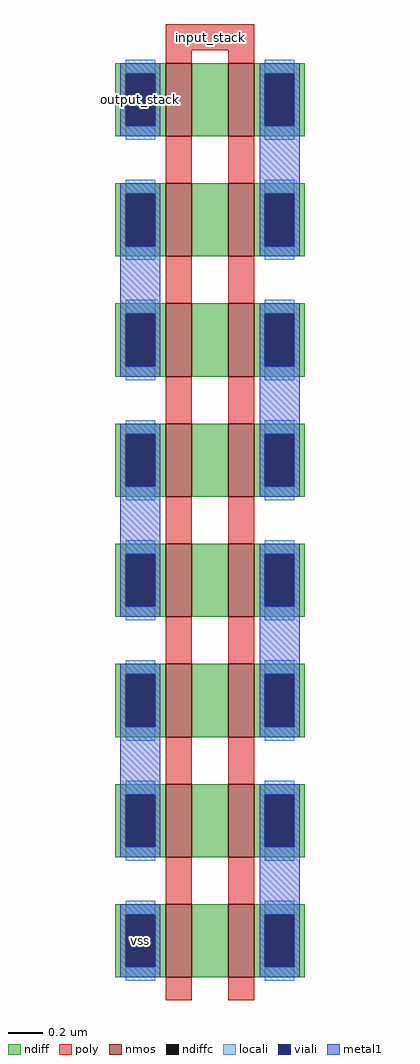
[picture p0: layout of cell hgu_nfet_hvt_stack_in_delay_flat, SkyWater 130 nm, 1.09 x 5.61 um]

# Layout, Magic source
magic
tech sky130A
magscale 1 2
<< nmos >>
rect 143 757 173 841
rect 215 757 245 841
rect 143 619 173 703
rect 215 619 245 703
rect 143 481 173 565
rect 215 481 245 565
rect 143 343 173 427
rect 215 343 245 427
rect 143 205 173 289
rect 215 205 245 289
rect 143 67 173 151
rect 215 67 245 151
rect 143 -71 173 13
rect 215 -71 245 13
rect 143 -209 173 -125
rect 215 -209 245 -125
<< ndiff >>
rect 85 829 143 841
rect 85 769 97 829
rect 131 769 143 829
rect 85 757 143 769
rect 173 757 215 841
rect 245 829 303 841
rect 245 769 257 829
rect 291 769 303 829
rect 245 757 303 769
rect 85 691 143 703
rect 85 631 97 691
rect 131 631 143 691
rect 85 619 143 631
rect 173 619 215 703
rect 245 691 303 703
rect 245 631 257 691
rect 291 631 303 691
rect 245 619 303 631
rect 85 553 143 565
rect 85 493 97 553
rect 131 493 143 553
rect 85 481 143 493
rect 173 481 215 565
rect 245 553 303 565
rect 245 493 257 553
rect 291 493 303 553
rect 245 481 303 493
rect 85 415 143 427
rect 85 355 97 415
rect 131 355 143 415
rect 85 343 143 355
rect 173 343 215 427
rect 245 415 303 427
rect 245 355 257 415
rect 291 355 303 415
rect 245 343 303 355
rect 85 277 143 289
rect 85 217 97 277
rect 131 217 143 277
rect 85 205 143 217
rect 173 205 215 289
rect 245 277 303 289
rect 245 217 257 277
rect 291 217 303 277
rect 245 205 303 217
rect 85 139 143 151
rect 85 79 97 139
rect 131 79 143 139
rect 85 67 143 79
rect 173 67 215 151
rect 245 139 303 151
rect 245 79 257 139
rect 291 79 303 139
rect 245 67 303 79
rect 85 1 143 13
rect 85 -59 97 1
rect 131 -59 143 1
rect 85 -71 143 -59
rect 173 -71 215 13
rect 245 1 303 13
rect 245 -59 257 1
rect 291 -59 303 1
rect 245 -71 303 -59
rect 85 -137 143 -125
rect 85 -197 97 -137
rect 131 -197 143 -137
rect 85 -209 143 -197
rect 173 -209 215 -125
rect 245 -137 303 -125
rect 245 -197 257 -137
rect 291 -197 303 -137
rect 245 -209 303 -197
<< ndiffc >>
rect 97 769 131 829
rect 257 769 291 829
rect 97 631 131 691
rect 257 631 291 691
rect 97 493 131 553
rect 257 493 291 553
rect 97 355 131 415
rect 257 355 291 415
rect 97 217 131 277
rect 257 217 291 277
rect 97 79 131 139
rect 257 79 291 139
rect 97 -59 131 1
rect 257 -59 291 1
rect 97 -197 131 -137
rect 257 -197 291 -137
<< poly >>
rect 143 856 245 886
rect 143 841 173 856
rect 215 841 245 856
rect 143 703 173 757
rect 215 703 245 757
rect 143 565 173 619
rect 215 565 245 619
rect 143 427 173 481
rect 215 427 245 481
rect 143 289 173 343
rect 215 289 245 343
rect 143 151 173 205
rect 215 151 245 205
rect 143 13 173 67
rect 215 13 245 67
rect 143 -125 173 -71
rect 215 -125 245 -71
rect 143 -235 173 -209
rect 215 -235 245 -209
<< locali >>
rect 97 829 131 845
rect 97 753 131 769
rect 257 829 291 845
rect 257 753 291 769
rect 97 691 131 707
rect 97 615 131 631
rect 257 691 291 707
rect 257 615 291 631
rect 97 553 131 569
rect 97 477 131 493
rect 257 553 291 569
rect 257 477 291 493
rect 97 415 131 431
rect 97 339 131 355
rect 257 415 291 431
rect 257 339 291 355
rect 97 277 131 293
rect 97 201 131 217
rect 257 277 291 293
rect 257 201 291 217
rect 97 139 131 155
rect 97 63 131 79
rect 257 139 291 155
rect 257 63 291 79
rect 97 1 131 17
rect 97 -75 131 -59
rect 257 1 291 17
rect 257 -75 291 -59
rect 97 -137 131 -121
rect 97 -213 131 -197
rect 257 -137 291 -121
rect 257 -213 291 -197
<< viali >>
rect 97 769 131 829
rect 257 769 291 829
rect 97 631 131 691
rect 257 631 291 691
rect 97 493 131 553
rect 257 493 291 553
rect 97 355 131 415
rect 257 355 291 415
rect 97 217 131 277
rect 257 217 291 277
rect 97 79 131 139
rect 257 79 291 139
rect 97 -59 131 1
rect 257 -59 291 1
rect 97 -197 131 -137
rect 257 -197 291 -137
<< metal1 >>
rect 91 829 137 841
rect 91 769 97 829
rect 131 769 137 829
rect 91 757 137 769
rect 251 829 297 841
rect 251 769 257 829
rect 291 769 297 829
rect 91 691 137 703
rect 91 631 97 691
rect 131 631 137 691
rect 91 553 137 631
rect 251 691 297 769
rect 251 631 257 691
rect 291 631 297 691
rect 251 619 297 631
rect 91 493 97 553
rect 131 493 137 553
rect 91 481 137 493
rect 251 553 297 565
rect 251 493 257 553
rect 291 493 297 553
rect 91 415 137 427
rect 91 355 97 415
rect 131 355 137 415
rect 91 277 137 355
rect 251 415 297 493
rect 251 355 257 415
rect 291 355 297 415
rect 251 343 297 355
rect 91 217 97 277
rect 131 217 137 277
rect 91 205 137 217
rect 251 277 297 289
rect 251 217 257 277
rect 291 217 297 277
rect 91 139 137 151
rect 91 79 97 139
rect 131 79 137 139
rect 91 1 137 79
rect 251 139 297 217
rect 251 79 257 139
rect 291 79 297 139
rect 251 67 297 79
rect 91 -59 97 1
rect 131 -59 137 1
rect 91 -71 137 -59
rect 251 1 297 13
rect 251 -59 257 1
rect 291 -59 297 1
rect 91 -137 137 -125
rect 91 -197 97 -137
rect 131 -197 137 -137
rect 91 -209 137 -197
rect 251 -137 297 -59
rect 251 -197 257 -137
rect 291 -197 297 -137
rect 251 -209 297 -197
<< labels >>
flabel poly 143 856 245 886 0 FreeSans 320 0 0 0 input_stack
port 0 nsew
flabel space 97 769 131 829 0 FreeSans 320 0 0 0 output_stack
port 1 nsew
flabel space 97 -197 131 -137 0 FreeSans 320 0 0 0 vss
port 3 nsew
<< end >>
